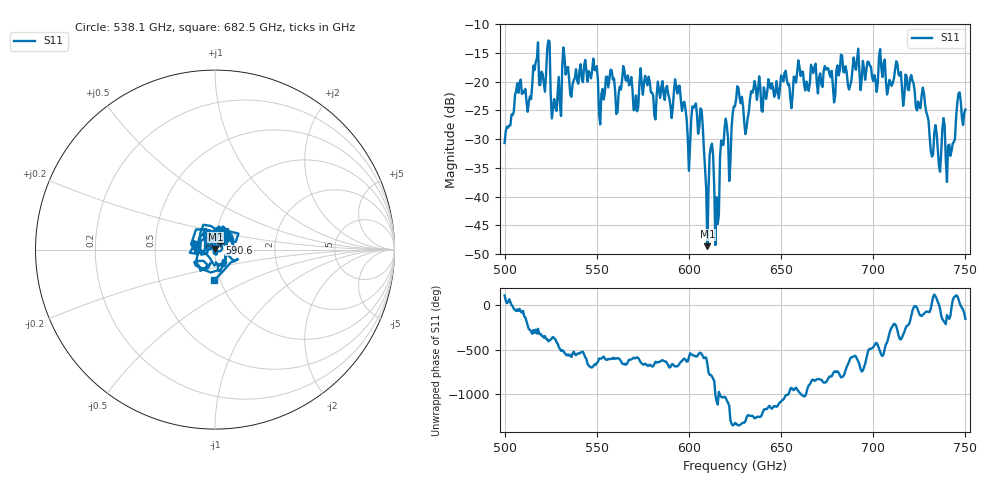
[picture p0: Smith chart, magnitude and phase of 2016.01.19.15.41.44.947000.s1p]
!Created with skrf (http://scikit-rf.org).
# GHz S RI R 50.0
!freq ReS11 ImS11
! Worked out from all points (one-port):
!   401 points, 500 GHz to 750 GHz, reference 50 ohm
!   lowest |S11| = -48.6 dB at 610 GHz (marker M1), VSWR 1.01, Z = 50.2 + j0.324 ohm
!   |S11| at or under -10 dB: start of sweep to end of sweep
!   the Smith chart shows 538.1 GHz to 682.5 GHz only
!   S11 on the Smith chart (normalised r, x): 538.1 GHz: 0.81, +0.04; 590.6 GHz: 1.06, +0.08; 682.5 GHz: 0.94, -0.33
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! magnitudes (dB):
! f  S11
! 500 GHz  -30.7
! 507.5 GHz  -22.0
! 513.1 GHz  -23.6
! 516.9 GHz  -16.6
! 523.8 GHz  -12.9
! 526.9 GHz  -23.1
! 531.2 GHz  -17.5
! 538.1 GHz  -19.4
! 562.5 GHz  -20.9
! 590.6 GHz  -26.3
! 593.8 GHz  -22.1
! 600 GHz  -35.5
! 602.5 GHz  -24.6
! 606.9 GHz  -24.9
! 610 GHz  -48.6
! 612.5 GHz  -30.8
! 615 GHz  -40.1
! 618.8 GHz  -31.0
! 622.5 GHz  -34.2
! 625 GHz  -24.3
! 656.2 GHz  -22.4
! 682.5 GHz  -15.3
! 687.5 GHz  -20.7
! 718.8 GHz  -21.4
! 735.6 GHz  -34.5
! 741.2 GHz  -30.9
! 746.2 GHz  -22.1
! 750 GHz  -24.9
